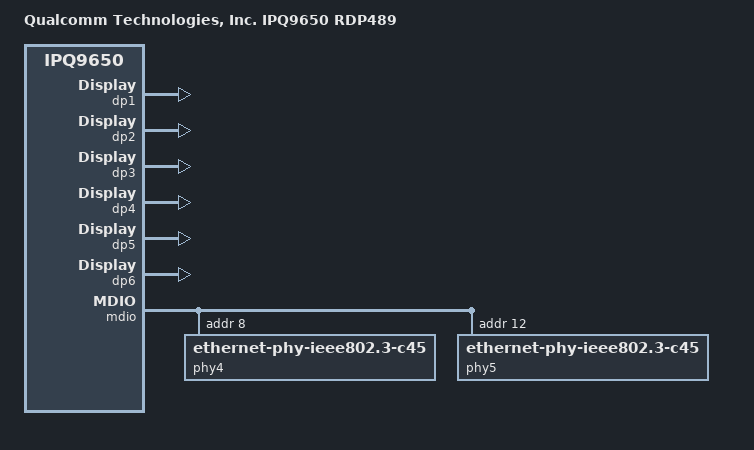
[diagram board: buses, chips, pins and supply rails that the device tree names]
// SPDX-License-Identifier: (GPL-2.0+ OR BSD-3-Clause)
/*
 * IPQ9650 RDP489 board device tree source
 *
 * Copyright (c) 2020-2021 The Linux Foundation. All rights reserved.
 * Copyright (c) Qualcomm Technologies, Inc. and/or its subsidiaries.
 */

/dts-v1/;

#include "ipq9650-rdp-common.dtsi"

/ {
	model = "Qualcomm Technologies, Inc. IPQ9650 RDP489";
	compatible = "qcom,ipq9650-rdp489", "qcom,ipq9650";

	aliases {
		ethernet0 = "/soc/dp1";
		ethernet1 = "/soc/dp2";
		ethernet2 = "/soc/dp3";
		ethernet3 = "/soc/dp4";
		ethernet4 = "/soc/dp5";
		ethernet5 = "/soc/dp6";
	};

	soc@0 {
		qupv3: geniqup@1ac0000 {
			status = "okay";

			spi0: spi@1a80000 {
				pinctrl-0 = <&qup_spi0_default>;
				pinctrl-names = "default";
				status = "disabled";

				flash@0 {
					compatible = "spansion,s25fs128s1", "jedec,spi-nor";
					#address-cells = <1>;
					#size-cells = <1>;
					reg = <0>;
					spi-max-frequency = <50000000>;
				};
			};
		};

		dp1 {
			device_type = "network";
			compatible = "qcom,nss-dp";
			qcom,id = <1>;
			reg = <0x2a500000 0x4000>;
			qcom,mactype = <1>;
			local-mac-address = [000000000000];
			qcom,ppe-offload-disabled = <0>;
		};

		dp2 {
			device_type = "network";
			compatible = "qcom,nss-dp";
			qcom,id = <2>;
			reg = <0x2a504000 0x4000>;
			qcom,mactype = <1>;
			local-mac-address = [000000000000];
			qcom,ppe-offload-disabled = <0>;
		};

		dp3 {
			device_type = "network";
			compatible = "qcom,nss-dp";
			qcom,id = <3>;
			reg = <0x2a508000 0x4000>;
			qcom,mactype = <1>;
			local-mac-address = [000000000000];
			qcom,ppe-offload-disabled = <0>;
		};

		dp4 {
			device_type = "network";
			compatible = "qcom,nss-dp";
			qcom,id = <4>;
			reg = <0x2a50c000 0x4000>;
			qcom,mactype = <1>;
			local-mac-address = [000000000000];
			qcom,ppe-offload-disabled = <0>;
		};

		dp5 {
			device_type = "network";
			compatible = "qcom,nss-dp";
			qcom,id = <5>;
			reg = <0x2a510000 0x4000>;
			qcom,mactype = <1>;
			local-mac-address = [000000000000];
			qcom,ppe-offload-disabled = <0>;
		};

		dp6 {
			device_type = "network";
			compatible = "qcom,nss-dp";
			qcom,id = <6>;
			reg = <0x2a514000 0x4000>;
			qcom,mactype = <1>;
			local-mac-address = [000000000000];
			qcom,ppe-offload-disabled = <0>;
		};

		efuse@a4000 {
			apc_turl1_fuse: apc_turl1_fuse@3fc {
				reg = <0x3fc 0x2>;
				bits = <3 7>;
			};

			apc_nom_fuse: apc_nom_fuse@3fd {
				reg = <0x3fd 0x2>;
				bits = <2 7>;
			};

			apc_svs_fuse: apc_svs_fuse@3fe {
				reg = <0x3fe 0x1>;
				bits = <1 7>;
			};

			nsp_cx_nom_fuse: nsp_cx_nom_fuse@403 {
				reg = <0x403 0x2>;
				bits = <6 7>;
			};

			nsp_cx_svs_fuse: nsp_cx_svs_fuse@406 {
				reg = <0x406 0x2>;
				bits = <2 7>;
			};

			nsp_mx_nom_fuse: nsp_mx_nom_fuse@40b {
				reg = <0x40b 0x2>;
				bits = <6 7>;
			};
		};

		apc_rail: apc-gpio-regulator {
			compatible = "regulator-gpio";
			regulator-name = "vdd-apc";
			regulator-type = "voltage";
			regulator-boot-on;
			regulator-always-on;
			regulator-min-microvolt = <600000>;
			regulator-max-microvolt = <957000>;
			regulator-ramp-delay = <250>; /* 20ms */
			gpios = <&tlmm 33 GPIO_ACTIVE_HIGH>,
				<&tlmm 34 GPIO_ACTIVE_HIGH>,
				<&tlmm 35 GPIO_ACTIVE_HIGH>;
			gpios-states = <0x7>;
			states = <600000 0x0>,
				 <660000 0x1>,
				 <740000 0x2>,
				 <804000 0x3>,
				 <753000 0x4>,
				 <815000 0x5>,
				 <895000 0x6>,
				 <957000 0x7>;
			status = "disabled";
		};

		qcom,gpio-regulator {
			compatible = "qcom,ipq9650-gpio-regulator";
			reg = <0xa4000 0x739>;
			reg-names = "fuse_base";
			apc-supply = <&apc_rail>;
			nvmem-cells = <&apc_nom_fuse>;
			nvmem-cell-names = "cpr_apc_nom";
			status = "disabled";

			apc: apc {
				regulator-min-microvolt = <600000>;
				regulator-max-microvolt = <957000>;
				regulator-boot-on;
				regulator-always-on;
			};
		};
	};
};

&mdio {
	phy-reset-gpio = <&tlmm 18 GPIO_ACTIVE_LOW>, /* Reset for UNIPHY0 QCE1204. */
			 <&tlmm 25 GPIO_ACTIVE_LOW>, /* Reset for UNIPHY1 QCA81XXs. */
			 <&tlmm 26 GPIO_ACTIVE_LOW>; /* Reset for UNIPHY2 QCA81XXs. */

	phy4: ethernet-phy@8 {
		compatible = "ethernet-phy-ieee802.3-c45";
		reg = <8>;
	};

	phy5: ethernet-phy@c {
		compatible = "ethernet-phy-ieee802.3-c45";
		reg = <12>;
	};
};

&ess_switch {
	switch_mac_mode1 = <0xd>; /* mac mode for uniphy instance1 */
	switch_mac_mode2 = <0xd>; /* mac mode for uniphy instance2 */

	qcom,port_phyinfo {
		port@4 {
			port_id = <5>;
			phy_address = <8>;
			phy-handle = <&phy4>;
			phy-mode = "usxgmii";
			ethernet-phy-ieee802.3-c45;
		};

		port@5 {
			port_id = <6>;
			phy_address = <12>;
			phy-handle = <&phy5>;
			phy-mode = "usxgmii";
			ethernet-phy-ieee802.3-c45;
		};
	};
};

&qpic_bam {
	status = "disabled";
};

&qpic_nand {
	status = "disabled";
};

&pcie1_phy {
	status = "disabled";
};

&pcie1 {
	perst-gpio = <&tlmm 28 GPIO_ACTIVE_LOW>;
	status = "disabled";

	pcie1_rp {
		reg = <0 0 0 0 0>;

		qcom,mhi@0 {
			reg = <0 0 0 0 0>;
		};
	};
};

&pcie2_phy {
	status = "disabled";
};

&pcie2 {
	perst-gpio = <&tlmm 52 GPIO_ACTIVE_LOW>;
	status = "disabled";

	pcie2_rp {
		reg = <0 0 0 0 0>;

		qcom,mhi@0 {
			reg = <0 0 0 0 0>;
		};
	};
};

&pcie3_phy {
	status = "disabled";
};

&pcie3 {
	perst-gpio = <&tlmm 41 GPIO_ACTIVE_LOW>;
	status = "disabled";

	pcie3_rp {
		reg = <0 0 0 0 0>;

		qcom,mhi@0 {
			reg = <0 0 0 0 0>;
		};
	};
};

&qusb_phy_1 {
	status = "disabled";
};

&usb2 {
	status = "disabled";
};

&qusb_phy_0 {
	status = "disabled";
};

&ssphy_0 {
	status = "disabled";
};

&usb3 {
	status = "disabled";
};

&tlmm {
	pcie0_default_state: pcie0-default-state {
		perst-n-pins {
			pins = "gpio25";
			function = "gpio";
			drive-strength = <8>;
			bias-pull-up;
			output-low;
		};
	};

	pcie1_default_state: pcie1-default-state {
		perst-n-pins {
			pins = "gpio28";
			function = "gpio";
			drive-strength = <8>;
			bias-pull-down;
			output-low;
		};
	};

	pcie2_default_state: pcie2-default-state {
		perst-n-pins {
			pins = "gpio52";
			function = "gpio";
			drive-strength = <8>;
			bias-pull-down;
			output-low;
		};
	};

	pcie3_default_state: pcie3-default-state {
		perst-n-pins {
			pins = "gpio41";
			function = "gpio";
			drive-strength = <8>;
			bias-pull-up;
			output-low;
		};
	};

	pcie4_default_state: pcie4-default-state {
		perst-n-pins {
			pins = "gpio31";
			function = "gpio";
			drive-strength = <8>;
			bias-pull-down;
			output-low;
		};
	};
};

&CPU0 {
	cpu-supply = <&apc>;
	/delete-property/ cpu-supply;
};

&CPU1 {
	cpu-supply = <&apc>;
	/delete-property/ cpu-supply;
};

&CPU2 {
	cpu-supply = <&apc>;
	/delete-property/ cpu-supply;
};

&CPU3 {
	cpu-supply = <&apc>;
	/delete-property/ cpu-supply;
};

&CPU4 {
	cpu-supply = <&apc>;
	/delete-property/ cpu-supply;
};
